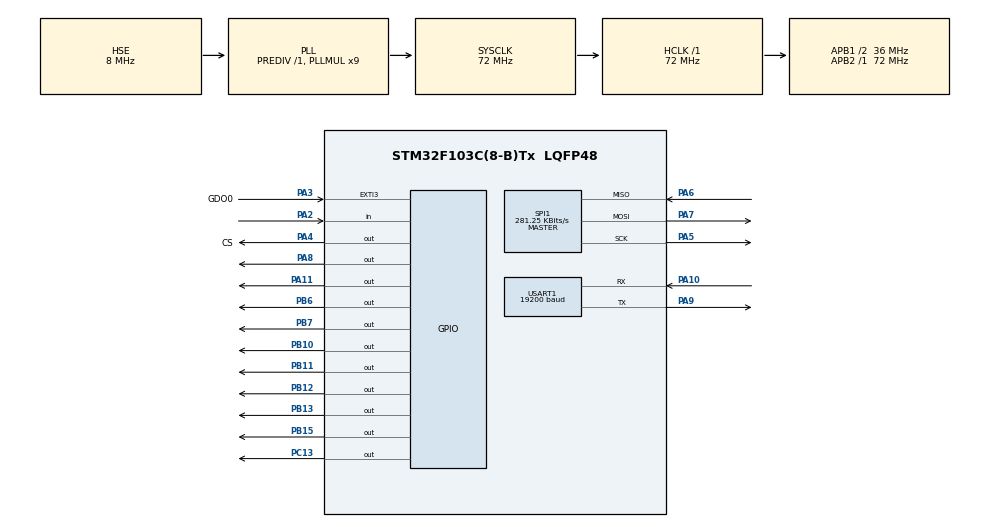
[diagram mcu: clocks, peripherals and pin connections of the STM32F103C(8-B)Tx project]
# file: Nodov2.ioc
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Mcu.Family=STM32F1
Mcu.Name=STM32F103C(8-B)Tx
Mcu.Package=LQFP48
NVIC.EXTI3_IRQn=true\:0\:0\:false\:false\:true\:true\:true
NVIC.PriorityGroup=NVIC_PRIORITYGROUP_4
NVIC.TIM4_IRQn=true\:2\:0\:true\:false\:true\:true\:true
NVIC.USART1_IRQn=true\:0\:0\:false\:false\:true\:true\:true
PA10.Mode=Asynchronous
PA10.Signal=USART1_RX
PA11.GPIO_PuPd=GPIO_NOPULL
PA11.Signal=GPIO_Output
PA13.Mode=Serial_Wire
PA13.Signal=SYS_JTMS-SWDIO
PA14.Mode=Serial_Wire
PA14.Signal=SYS_JTCK-SWCLK
PA2.Signal=GPIO_Input
PA3.GPIO_Label=GDO0
PA3.GPIO_ModeDefaultEXTI=GPIO_MODE_IT_FALLING
PA3.Signal=GPXTI3
PA4.GPIO_Label=CS
PA4.Signal=GPIO_Output
PA5.Mode=Full_Duplex_Master
PA5.Signal=SPI1_SCK
PA6.Mode=Full_Duplex_Master
PA6.Signal=SPI1_MISO
PA7.Mode=Full_Duplex_Master
PA7.Signal=SPI1_MOSI
PA8.GPIO_PuPd=GPIO_NOPULL
PA8.PinState=GPIO_PIN_RESET
PA8.Signal=GPIO_Output
PA9.Mode=Asynchronous
PA9.Signal=USART1_TX
PB10.Signal=GPIO_Output
PB11.Signal=GPIO_Output
PB12.Signal=GPIO_Output
PB13.Signal=GPIO_Output
PB15.Signal=GPIO_Output
PB6.Signal=GPIO_Output
PB7.PinState=GPIO_PIN_SET
PB7.Signal=GPIO_Output
PC13-TAMPER-RTC.Signal=GPIO_Output
PD0-OSC_IN.Mode=HSE-External-Oscillator
PD0-OSC_IN.Signal=RCC_OSC_IN
PD1-OSC_OUT.Mode=HSE-External-Oscillator
PD1-OSC_OUT.Signal=RCC_OSC_OUT
ProjectManager.HeapSize=0x200
ProjectManager.StackSize=0x400
ProjectManager.TargetToolchain=STM32CubeIDE
RCC.AHBFreq_Value=72000000
RCC.APB1CLKDivider=RCC_HCLK_DIV2
RCC.APB1Freq_Value=36000000
RCC.APB1TimFreq_Value=72000000
RCC.APB2Freq_Value=72000000
RCC.APB2TimFreq_Value=72000000
RCC.HCLKFreq_Value=72000000
RCC.PLLMUL=RCC_PLL_MUL9
RCC.PLLSourceVirtual=RCC_PLLSOURCE_HSE
RCC.SYSCLKFreq_VALUE=72000000
RCC.SYSCLKSource=RCC_SYSCLKSOURCE_PLLCLK
RCC.USBFreq_Value=48000000
RCC.USBPrescaler=RCC_USBCLKSOURCE_PLL_DIV1_5
SPI1.BaudRatePrescaler=SPI_BAUDRATEPRESCALER_256
SPI1.CRCCalculation=SPI_CRCCALCULATION_DISABLE
SPI1.CalculateBaudRate=281.25 KBits/s
SPI1.Direction=SPI_DIRECTION_2LINES
SPI1.Mode=SPI_MODE_MASTER
SPI1.VirtualType=VM_MASTER
TIM4.AutoReloadPreload=TIM_AUTORELOAD_PRELOAD_DISABLE
TIM4.Period=1
TIM4.Prescaler=1439
USART1.BaudRate=19200
USART1.Parity=PARITY_EVEN
USART1.VirtualMode=VM_ASYNC
VP_TIM4_VS_ClockSourceINT.Mode=Internal
board=custom

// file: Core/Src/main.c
/* USER CODE BEGIN Header */
/**
  ******************************************************************************
  * @file           : main.c
  * @brief          : Cuerpo de programa para detección de inhibiciones
  ******************************************************************************
  * @attention
  *
  * <h2><center>&copy; Copyright (c) 2020 STMicroelectronics.
  * All rights reserved.</center></h2>
  *
  * This software component is licensed by ST under BSD 3-Clause license,
  * the "License"; You may not use this file except in compliance with the
  * License. You may obtain a copy of the License at:
  *                        opensource.org/licenses/BSD-3-Clause
  *
  ******************************************************************************
  */
/* USER CODE END Header */
#include "main.h"

/* USER CODE BEGIN Includes */
#include "rf_driver.h"
#include <stdbool.h>

/* USER CODE END Includes */

/* USER CODE BEGIN PTD */

#define ID_nodo  'B'

/* USER CODE END PTD */

SPI_HandleTypeDef hspi1;

TIM_HandleTypeDef htim4;

UART_HandleTypeDef huart1;

/* USER CODE BEGIN PV */

uint16_t promedio = 0, a_promediar = 0, contador20ms = 0, contador150ms = 0, contador20ms_rssi = 0;
uint16_t sync_mx = 1; 			//variable de control para sincronización máxima de 320ms
uint8_t state = 0, i_rssi=0;
uint16_t suma_RSSI = 90;
uint8_t RSSI_val[10] = {90,90,90,90,90,90,90,90,90,90};

//Different state of ATM machine

uint8_t bInhibicion=0;
bool Inte=1;

/* USER CODE END PV */

void SystemClock_Config(void);
static void MX_GPIO_Init(void);
static void MX_SPI1_Init(void);
static void MX_TIM4_Init(void);
static void MX_USART1_UART_Init(void);

int main(void)
{

  /* MCU Configuration--------------------------------------------------------*/

  /* Reset of all peripherals, Initializes the Flash interface and the Systick. */
  HAL_Init();

  /* Configure the system clock */
  SystemClock_Config();

  /* Initialize all configured peripherals */
  MX_GPIO_Init();
  MX_SPI1_Init();
  MX_TIM4_Init();
  MX_USART1_UART_Init();
  /* USER CODE BEGIN 2 */

  	uint8_t gRSSI_value;

  	char ch[3]={0, 0, 0};
  	char in[3]={0, 0, 0};

  	uint16_t err;

	HAL_GPIO_WritePin(GPIOA, GPIO_PIN_8, 0); // DE - Comunicacion RS485 - Se coloca en bajo para estar en modo recepcion
	HAL_GPIO_WritePin(GPIOA, GPIO_PIN_11, 0); // RE - Comunicacion RS485 - Se coloca en bajo para escuchar todo el tiempo

	uint16_t marcstate=0;

	//Init rf driver
	rf_begin(&hspi1, AKS_115_kb, MHz434, CS_GPIO_Port, CS_Pin, GDO0_Pin);
	rf_write_strobe(SRX);

	while(marcstate != RX){
		marcstate = (rf_read_register(MARCSTATE)); //read out state of cc1100 to be sure in RX
	}

	HAL_TIM_Base_Start_IT(&htim4);

	//  test_cargar_cfg();

  /* USER CODE END 2 */

  /* Infinite loop */
  /* USER CODE BEGIN WHILE */
	while (1)
	{

		in[0] = in[1] = 0;
		ch[0] = ch[1] = ch[2] = 0;

		HAL_Delay(25);
		HAL_GPIO_WritePin(GPIOA, GPIO_PIN_8, 0);

		HAL_UART_Receive(&huart1, (uint8_t *)in, 2, 100);

	/*	if(in[1] == 0){
			if (Inte == 0 ){
				HAL_TIM_Base_Start_IT(&htim4);
				bInhibicion = 0;
				gRSSI_value = 0;
				Inte = 1;
			}
		}*/

		if(in[0] == 'A' && in[1] == 1){
			gRSSI_value = RSSI_val[i_rssi-1 < 0 ? 9 : i_rssi-1];
			HAL_TIM_Base_Stop_IT(&htim4);
			Inte = 0;
		}

		if (in[1] == 1){
			if (gRSSI_value == 0){
				gRSSI_value = RSSI_val[i_rssi-1 < 0 ? 9 : i_rssi-1];
			}
			if (Inte == 1){
				HAL_TIM_Base_Stop_IT(&htim4);
				Inte = 0;
			}
		}

		else if (in[0] == 'A' && in[1] == 2){
			for(int j = 0; j<10; j++){
				RSSI_val[j] = 90;
			}
			HAL_TIM_Base_Start_IT(&htim4);
			Inte = 1;
			bInhibicion = 0;
			gRSSI_value = 0;
			ch[0] = ch[1] = ch[2] = 0;
			in[0] = in[1] = 0;
		}

		if(in[0] == ID_nodo && in[1] != 2){

			if(in[1] == 0) ch[1] = 0;
			else ch[1] = gRSSI_value;

			ch[0] = ID_nodo;

			ch[2] = bInhibicion;

			HAL_GPIO_WritePin(GPIOA, GPIO_PIN_8, 1);
			HAL_UART_Transmit(&huart1, (uint8_t *)&ch, 3, HAL_MAX_DELAY);
			HAL_UART_Receive(&huart1, (uint8_t *)in, 1, 10);
			HAL_GPIO_WritePin(GPIOA, GPIO_PIN_8, 0);

		}

    /* USER CODE END WHILE */

	}
}

void SystemClock_Config(void)
{
  RCC_OscInitTypeDef RCC_OscInitStruct = {0};
  RCC_ClkInitTypeDef RCC_ClkInitStruct = {0};

  /** Initializes the RCC Oscillators according to the specified parameters
  * in the RCC_OscInitTypeDef structure.
  */
  RCC_OscInitStruct.OscillatorType = RCC_OSCILLATORTYPE_HSE;
  RCC_OscInitStruct.HSEState = RCC_HSE_ON;
  RCC_OscInitStruct.HSEPredivValue = RCC_HSE_PREDIV_DIV1;
  RCC_OscInitStruct.HSIState = RCC_HSI_ON;
  RCC_OscInitStruct.PLL.PLLState = RCC_PLL_ON;
  RCC_OscInitStruct.PLL.PLLSource = RCC_PLLSOURCE_HSE;
  RCC_OscInitStruct.PLL.PLLMUL = RCC_PLL_MUL9;
  if (HAL_RCC_OscConfig(&RCC_OscInitStruct) != HAL_OK)
  {
    Error_Handler();
  }
  /** Initializes the CPU, AHB and APB buses clocks
  */
  RCC_ClkInitStruct.ClockType = RCC_CLOCKTYPE_HCLK|RCC_CLOCKTYPE_SYSCLK
                              |RCC_CLOCKTYPE_PCLK1|RCC_CLOCKTYPE_PCLK2;
  RCC_ClkInitStruct.SYSCLKSource = RCC_SYSCLKSOURCE_PLLCLK;
  RCC_ClkInitStruct.AHBCLKDivider = RCC_SYSCLK_DIV1;
  RCC_ClkInitStruct.APB1CLKDivider = RCC_HCLK_DIV2;
  RCC_ClkInitStruct.APB2CLKDivider = RCC_HCLK_DIV1;

  if (HAL_RCC_ClockConfig(&RCC_ClkInitStruct, FLASH_LATENCY_2) != HAL_OK)
  {
    Error_Handler();
  }
}

static void MX_SPI1_Init(void)
{

  /* SPI1 parameter configuration*/
  hspi1.Instance = SPI1;
  hspi1.Init.Mode = SPI_MODE_MASTER;
  hspi1.Init.Direction = SPI_DIRECTION_2LINES;
  hspi1.Init.DataSize = SPI_DATASIZE_8BIT;
  hspi1.Init.CLKPolarity = SPI_POLARITY_LOW;
  hspi1.Init.CLKPhase = SPI_PHASE_1EDGE;
  hspi1.Init.NSS = SPI_NSS_SOFT;
  hspi1.Init.BaudRatePrescaler = SPI_BAUDRATEPRESCALER_256;
  hspi1.Init.FirstBit = SPI_FIRSTBIT_MSB;
  hspi1.Init.TIMode = SPI_TIMODE_DISABLE;
  hspi1.Init.CRCCalculation = SPI_CRCCALCULATION_DISABLE;
  hspi1.Init.CRCPolynomial = 10;
  if (HAL_SPI_Init(&hspi1) != HAL_OK)
  {
    Error_Handler();
  }

}

static void MX_TIM4_Init(void)
{

  TIM_ClockConfigTypeDef sClockSourceConfig = {0};
  TIM_MasterConfigTypeDef sMasterConfig = {0};

  htim4.Instance = TIM4;
  htim4.Init.Prescaler = 1439;
  htim4.Init.CounterMode = TIM_COUNTERMODE_UP;
  htim4.Init.Period = 1;
  htim4.Init.ClockDivision = TIM_CLOCKDIVISION_DIV1;
  htim4.Init.AutoReloadPreload = TIM_AUTORELOAD_PRELOAD_DISABLE;
  if (HAL_TIM_Base_Init(&htim4) != HAL_OK)
  {
    Error_Handler();
  }
  sClockSourceConfig.ClockSource = TIM_CLOCKSOURCE_INTERNAL;
  if (HAL_TIM_ConfigClockSource(&htim4, &sClockSourceConfig) != HAL_OK)
  {
    Error_Handler();
  }
  sMasterConfig.MasterOutputTrigger = TIM_TRGO_RESET;
  sMasterConfig.MasterSlaveMode = TIM_MASTERSLAVEMODE_DISABLE;
  if (HAL_TIMEx_MasterConfigSynchronization(&htim4, &sMasterConfig) != HAL_OK)
  {
    Error_Handler();
  }

}

static void MX_USART1_UART_Init(void)
{

  huart1.Instance = USART1;
  huart1.Init.BaudRate = 19200;
  huart1.Init.WordLength = UART_WORDLENGTH_8B;
  huart1.Init.StopBits = UART_STOPBITS_1;
  huart1.Init.Parity = UART_PARITY_EVEN;
  huart1.Init.Mode = UART_MODE_TX_RX;
  huart1.Init.HwFlowCtl = UART_HWCONTROL_NONE;
  huart1.Init.OverSampling = UART_OVERSAMPLING_16;
  if (HAL_UART_Init(&huart1) != HAL_OK)
  {
    Error_Handler();
  }

}

static void MX_GPIO_Init(void)
{
  GPIO_InitTypeDef GPIO_InitStruct = {0};

  /* GPIO Ports Clock Enable */
  __HAL_RCC_GPIOC_CLK_ENABLE();
  __HAL_RCC_GPIOD_CLK_ENABLE();
  __HAL_RCC_GPIOA_CLK_ENABLE();
  __HAL_RCC_GPIOB_CLK_ENABLE();

  /*Configure GPIO pin Output Level */
  HAL_GPIO_WritePin(GPIOC, GPIO_PIN_13, GPIO_PIN_RESET);

  /*Configure GPIO pin Output Level */
  HAL_GPIO_WritePin(GPIOA, CS_Pin|GPIO_PIN_8|GPIO_PIN_11, GPIO_PIN_RESET);

  /*Configure GPIO pin Output Level */
  HAL_GPIO_WritePin(GPIOB, GPIO_PIN_10|GPIO_PIN_11|GPIO_PIN_12|GPIO_PIN_13
                          |GPIO_PIN_15|GPIO_PIN_6, GPIO_PIN_RESET);

  /*Configure GPIO pin Output Level */
  HAL_GPIO_WritePin(GPIOB, GPIO_PIN_7, GPIO_PIN_SET);

  /*Configure GPIO pin : PC13 */
  GPIO_InitStruct.Pin = GPIO_PIN_13;
  GPIO_InitStruct.Mode = GPIO_MODE_OUTPUT_PP;
  GPIO_InitStruct.Pull = GPIO_NOPULL;
  GPIO_InitStruct.Speed = GPIO_SPEED_FREQ_LOW;
  HAL_GPIO_Init(GPIOC, &GPIO_InitStruct);

  /*Configure GPIO pin : PA2 */
  GPIO_InitStruct.Pin = GPIO_PIN_2;
  GPIO_InitStruct.Mode = GPIO_MODE_INPUT;
  GPIO_InitStruct.Pull = GPIO_NOPULL;
  HAL_GPIO_Init(GPIOA, &GPIO_InitStruct);

  /*Configure GPIO pin : GDO0_Pin */
  GPIO_InitStruct.Pin = GDO0_Pin;
  GPIO_InitStruct.Mode = GPIO_MODE_IT_FALLING;
  GPIO_InitStruct.Pull = GPIO_NOPULL;
  HAL_GPIO_Init(GDO0_GPIO_Port, &GPIO_InitStruct);

  /*Configure GPIO pins : CS_Pin PA8 PA11 */
  GPIO_InitStruct.Pin = CS_Pin|GPIO_PIN_8|GPIO_PIN_11;
  GPIO_InitStruct.Mode = GPIO_MODE_OUTPUT_PP;
  GPIO_InitStruct.Pull = GPIO_NOPULL;
  GPIO_InitStruct.Speed = GPIO_SPEED_FREQ_LOW;
  HAL_GPIO_Init(GPIOA, &GPIO_InitStruct);

  /*Configure GPIO pins : PB10 PB11 PB12 PB13
                           PB15 PB6 PB7 */
  GPIO_InitStruct.Pin = GPIO_PIN_10|GPIO_PIN_11|GPIO_PIN_12|GPIO_PIN_13
                          |GPIO_PIN_15|GPIO_PIN_6|GPIO_PIN_7;
  GPIO_InitStruct.Mode = GPIO_MODE_OUTPUT_PP;
  GPIO_InitStruct.Pull = GPIO_NOPULL;
  GPIO_InitStruct.Speed = GPIO_SPEED_FREQ_LOW;
  HAL_GPIO_Init(GPIOB, &GPIO_InitStruct);

  /* EXTI interrupt init*/
  HAL_NVIC_SetPriority(EXTI3_IRQn, 0, 0);
  HAL_NVIC_EnableIRQ(EXTI3_IRQn);

}

/* USER CODE BEGIN 4 */

void HAL_TIM_PeriodElapsedCallback(TIM_HandleTypeDef *htim){

	uint8_t data_in;

	if(htim->Instance == TIM4){ //chequea que la interrupción sea la del timer adecuado

		data_in = HAL_GPIO_ReadPin(GPIOA, GPIO_PIN_2); //leo el valor de dato de entrada

		switch(state)
		{
			case 0:
				a_promediar += data_in;
				contador20ms++;
				if(contador20ms == 499){ 							// 500 cuentas equivalen a 20ms por la frecuencia de 25kHz de la interrupcion
					promedio = (int) ((a_promediar * 100) / 500); 	//calculo el promedio de 1 en 20 ms

					if(promedio > threshold) sync_mx = sync_mx << 1; //sync_mx es una variable de 16 bits que me permite testear cuantos bloques consecutivos de 20ms hubo un porcentaje de 1 que supere el threshold
					else sync_mx = 1;

 					if(sync_mx == 0)  {
						state = 1; //si surgen 16 bloques consecutivos sospechamos inhibición y hacemos análisis en 150ms
						sync_mx = 1;
					}
					contador20ms = 0;
					a_promediar = 0;
					bInhibicion = 0;
					promedio = 0;
				}
				break;

			case 1:
				a_promediar += data_in;
				contador150ms++;
				if(contador150ms == 3749) {
					promedio = (int) ((a_promediar * 100) / 3750); 	//calculo el promedio de unos en 150 ms
					if(promedio > threshold){
						bInhibicion = 1;
						HAL_TIM_Base_Stop_IT(&htim4);
						Inte = 0;
					}
					contador150ms = 0; // 3750 cuentas equivalen a 150ms por la frecuencia de 25kHz de la interrupcion
					state = 0;
					a_promediar = 0;
					promedio = 0;
				}

				break;
		}

		contador20ms_rssi++;
		if(contador20ms_rssi == 499){ 							// 500 cuentas equivalen a 20ms por la frecuencia de 25kHz de la interrupcion

			if(i_rssi < 10){
				RSSI_val[i_rssi] = RSSI_level(); 					//Llamo a función que devuelve el valor del rssi
				if (RSSI_val[i_rssi] > 120 || RSSI_val[i_rssi] < 10)
					RSSI_val[i_rssi] = suma_RSSI;
				i_rssi++;

				if(i_rssi >= 10)
					i_rssi = 0;
			}
			else i_rssi = 0;

			for(int i = 0; i<10; i++){
				suma_RSSI += RSSI_val[i];
			}

			suma_RSSI = (uint16_t)(suma_RSSI/10);

			if(suma_RSSI <= 30) {
				bInhibicion = 2;
				HAL_TIM_Base_Stop_IT(&htim4);  // Si RSSI promedio es <= 30 es inhibicion por potencia
				Inte = 0;
			}
			contador20ms_rssi = 0;

		}
	}

}

uint8_t RSSI_level(){ //esta funcion devuelve el valor en dBm del RSSI
	int result_RSSI, result;

	result = rf_read_register(RSSI); 			//leo el registro que almacena el RSSI
	if(result < 128){  							//Transformo a dBm segun su valor
		result_RSSI = (int)(result/2)-74;
	}
	else{
		result_RSSI = (int)((result -256)/2)-74;
	}

	return (uint8_t)((-1)*result_RSSI);
}

/* USER CODE END 4 */

void Error_Handler(void)
{
}

/************************ (C) COPYRIGHT STMicroelectronics *****END OF FILE****/
